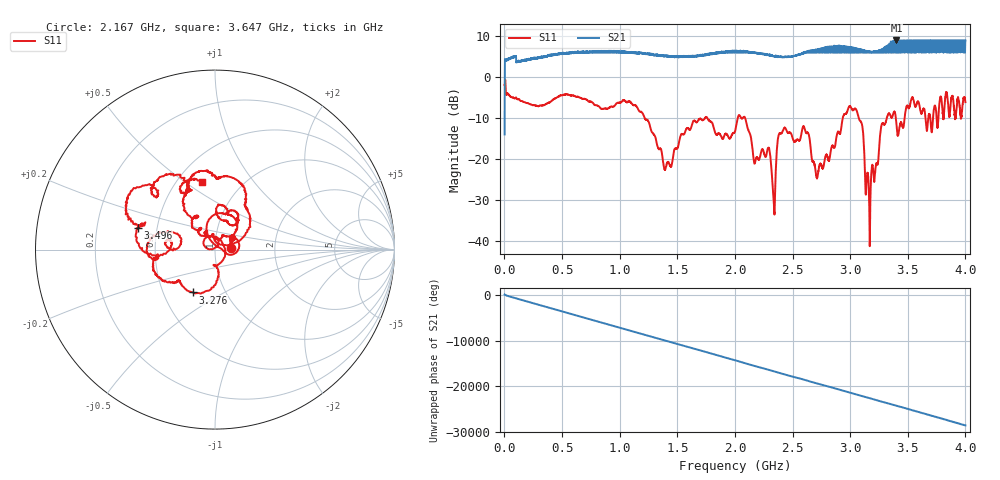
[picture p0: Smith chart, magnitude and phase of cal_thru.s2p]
!Created with skrf (http://scikit-rf.org).
# GHz S RI R 50.0
!freq ReS11 ImS11 ReS21 ImS21 ReS12 ImS12 ReS22 ImS22
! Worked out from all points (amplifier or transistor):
!   4000 points, 1 MHz to 4 GHz, reference 50 ohm
!   highest |S21| = 9.0 dB at 3.402 GHz (marker M1)
!   |S21| within 3 dB of that: 3.896 GHz to 3.996 GHz (99.99 MHz wide, 2.53 % of centre) (the widest 1 of 177)
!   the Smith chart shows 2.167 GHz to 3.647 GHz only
!   S11 on the Smith chart (normalised r, x): 2.167 GHz: 1.20, +0.03; 3.276 GHz: 0.70, -0.36; 3.496 GHz: 0.39, +0.11; 3.647 GHz: 0.66, +0.58
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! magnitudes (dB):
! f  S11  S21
! 1 MHz  -1.8  -14.0
! 24 MHz  -4.1  4.1
! 668 MHz  -5.1  6.2
! 1.093 GHz  -6.1  6.2
! 1.334 GHz  -17.3  5.3
! 2.001 GHz  -13.2  6.3
! 2.083 GHz  -9.7  6.2
! 2.167 GHz  -20.7  6.0
! 2.293 GHz  -17.2  5.5
! 2.335 GHz  -29.3  5.2
! 2.423 GHz  -12.6  5.0
! 2.667 GHz  -19.9  6.5
! 2.718 GHz  -24.2  6.8
! 3.043 GHz  -7.7  7.1
! 3.101 GHz  -11.4  6.7
! 3.156 GHz  -24.2  6.1
! 3.276 GHz  -11.4  6.7
! 3.334 GHz  -8.9  6.2
! 3.402 GHz  -11.6  9.0
! 3.496 GHz  -7.0  8.2
! 3.647 GHz  -8.3  6.4
! 4 GHz  -6.1  9.0
